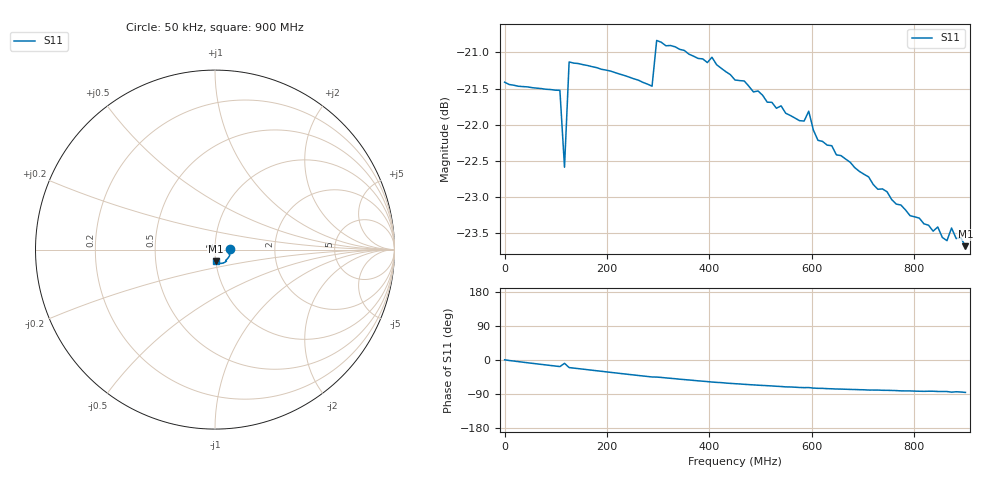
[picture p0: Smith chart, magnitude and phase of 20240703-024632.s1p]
# HZ S RI R 50
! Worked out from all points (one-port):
!   101 points, 50 kHz to 900 MHz, reference 50 ohm
!   lowest |S11| = -23.7 dB at 900 MHz (marker M1), VSWR 1.14, Z = 50.1 - j6.56 ohm
!   |S11| at or under -10 dB: start of sweep to end of sweep
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50000  0.085 0.000813
1.08044e8  0.0801 -0.025
1.170435e8  0.0733 -0.0113
1.26043e8  0.0825 -0.03
2.250375e8  0.0702 -0.0498
2.88034e8  0.06 -0.0595
2.970335e8  0.0641 -0.0643
3.42031e8  0.0568 -0.0693
3.96028e8  0.0478 -0.0735
4.050275e8  0.0466 -0.0752
4.50025e8  0.0394 -0.0757
4.68024e8  0.0371 -0.0766
5.130215e8  0.0311 -0.0762
5.4002e8  0.0281 -0.0769
5.670185e8  0.0251 -0.0762
5.850175e8  0.0235 -0.0764
5.94017e8  0.0241 -0.0775
6.030165e8  0.0215 -0.0758
6.12016e8  0.0204 -0.0747
6.750125e8  0.016 -0.0731
7.92006e8  0.0101 -0.0679
8.370035e8  0.00886 -0.0664
8.46003e8  0.00816 -0.067
8.64002e8  0.00785 -0.0655
8.730015e8  0.00605 -0.0671
8.82001e8  0.00715 -0.0658
8.910005e8  0.0064 -0.066
9e8  0.00512 -0.0652
